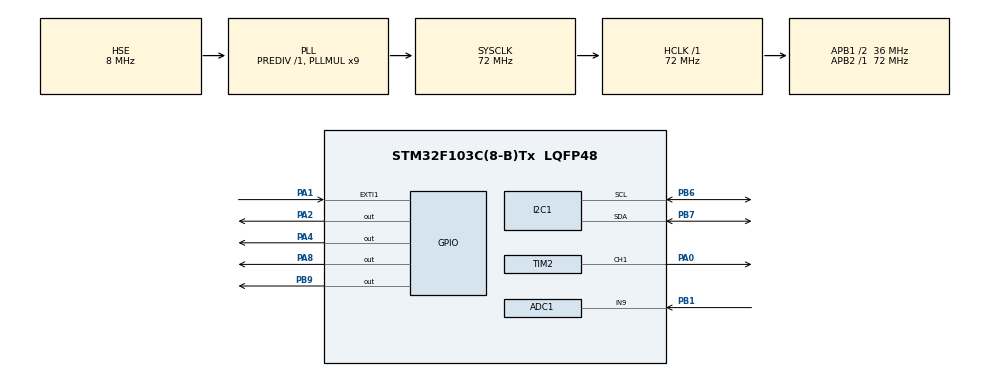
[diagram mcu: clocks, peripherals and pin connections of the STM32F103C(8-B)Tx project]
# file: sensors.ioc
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ADC1.Channel-5\#ChannelRegularConversion=ADC_CHANNEL_9
ADC1.ContinuousConvMode=ENABLE
ADC1.NbrOfConversionFlag=1
ADC1.Rank-5\#ChannelRegularConversion=1
ADC1.SamplingTime-5\#ChannelRegularConversion=ADC_SAMPLETIME_1CYCLE_5
ADC1.master=1
Mcu.Family=STM32F1
Mcu.Name=STM32F103C(8-B)Tx
Mcu.Package=LQFP48
NVIC.EXTI1_IRQn=true\:0\:0\:false\:false\:true\:true\:true\:true
NVIC.PriorityGroup=NVIC_PRIORITYGROUP_4
PA0-WKUP.Signal=S_TIM2_CH1_ETR
PA1.Signal=GPXTI1
PA13.Mode=Serial_Wire
PA13.Signal=SYS_JTMS-SWDIO
PA14.Mode=Serial_Wire
PA14.Signal=SYS_JTCK-SWCLK
PA2.Signal=GPIO_Output
PA4.Signal=GPIO_Output
PA8.Signal=GPIO_Output
PB1.Signal=ADCx_IN9
PB6.Mode=I2C
PB6.Signal=I2C1_SCL
PB7.Mode=I2C
PB7.Signal=I2C1_SDA
PB9.Signal=GPIO_Output
PD0-OSC_IN.Mode=HSE-External-Oscillator
PD0-OSC_IN.Signal=RCC_OSC_IN
PD1-OSC_OUT.Mode=HSE-External-Oscillator
PD1-OSC_OUT.Signal=RCC_OSC_OUT
ProjectManager.HeapSize=0x200
ProjectManager.StackSize=0x400
ProjectManager.TargetToolchain=STM32CubeIDE
RCC.ADCPresc=RCC_ADCPCLK2_DIV6
RCC.AHBFreq_Value=72000000
RCC.APB1CLKDivider=RCC_HCLK_DIV2
RCC.APB1Freq_Value=36000000
RCC.APB1TimFreq_Value=72000000
RCC.APB2Freq_Value=72000000
RCC.APB2TimFreq_Value=72000000
RCC.HCLKFreq_Value=72000000
RCC.PLLMUL=RCC_PLL_MUL9
RCC.PLLSourceVirtual=RCC_PLLSOURCE_HSE
RCC.SYSCLKFreq_VALUE=72000000
RCC.SYSCLKSource=RCC_SYSCLKSOURCE_PLLCLK
RCC.USBFreq_Value=72000000
SH.ADCx_IN9.0=ADC1_IN9,IN9
SH.S_TIM2_CH1_ETR.0=TIM2_CH1,PWM Generation1 CH1
TIM1.Prescaler=71
TIM2.Channel-PWM\ Generation1\ CH1=TIM_CHANNEL_1
TIM2.Period=999
TIM2.Prescaler=71
VP_TIM1_VS_ClockSourceINT.Mode=Internal
VP_TIM2_VS_ClockSourceINT.Mode=Internal
board=custom

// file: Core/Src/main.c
/* USER CODE BEGIN Header */
/**
  ******************************************************************************
  * @file           : main.c
  * @brief          : Main program body
  ******************************************************************************
  * @attention
  *
  * Copyright (c) 2023 STMicroelectronics.
  * All rights reserved.
  *
  * This software is licensed under terms that can be found in the LICENSE file
  * in the root directory of this software component.
  * If no LICENSE file comes with this software, it is provided AS-IS.
  *
  ******************************************************************************
  */
/* USER CODE END Header */
#include "main.h"

/* USER CODE BEGIN Includes */
#include "i2c-lcd.h"
/* USER CODE END Includes */

ADC_HandleTypeDef hadc1;

I2C_HandleTypeDef hi2c1;

TIM_HandleTypeDef htim1;
TIM_HandleTypeDef htim2;

/* USER CODE BEGIN PV */
uint32_t previousMillis = 0;
uint32_t currentMillis = 0;
/* USER CODE END PV */

void SystemClock_Config(void);
static void MX_GPIO_Init(void);
static void MX_TIM1_Init(void);
static void MX_ADC1_Init(void);
static void MX_TIM2_Init(void);
static void MX_I2C1_Init(void);

/* USER CODE BEGIN 0 */
#define DHT11_PORT GPIOB
#define DHT11_PIN GPIO_PIN_9

uint8_t RHI, RHD, TCI, TCD, SUM;
uint32_t pMillis, cMillis;
uint16_t readValue;

//Buffer to store float
char temp[10];
char humd[10];
char light[10];

float temperature = 0; //Temperature
float humidity = 0; //Humidity

float light_data = 0;
float led_light = 0;
float light_percent;

//This delay base on timer htim1
void microDelay (uint16_t delay)
{
  __HAL_TIM_SET_COUNTER(&htim1, 0);
  while (__HAL_TIM_GET_COUNTER(&htim1) < delay);
}

//Initialize the DHT11
uint8_t DHT11_Start (void)
{
  uint8_t Response = 0;
  GPIO_InitTypeDef GPIO_InitStructPrivate = {0};
  GPIO_InitStructPrivate.Pin = DHT11_PIN;
  GPIO_InitStructPrivate.Mode = GPIO_MODE_OUTPUT_PP;
  GPIO_InitStructPrivate.Speed = GPIO_SPEED_FREQ_LOW;
  GPIO_InitStructPrivate.Pull = GPIO_NOPULL;
  HAL_GPIO_Init(DHT11_PORT, &GPIO_InitStructPrivate); // set the pin as output
  HAL_GPIO_WritePin (DHT11_PORT, DHT11_PIN, 0);   // pull the pin low
  HAL_Delay(20);   // wait for 20ms
  HAL_GPIO_WritePin (DHT11_PORT, DHT11_PIN, 1);   // pull the pin high
  microDelay (30);   // wait for 30us
  GPIO_InitStructPrivate.Mode = GPIO_MODE_INPUT;
  GPIO_InitStructPrivate.Pull = GPIO_PULLUP;
  HAL_GPIO_Init(DHT11_PORT, &GPIO_InitStructPrivate); // set the pin as input
  microDelay (40);
  if (!(HAL_GPIO_ReadPin (DHT11_PORT, DHT11_PIN)))
  {
    microDelay (80);
    if ((HAL_GPIO_ReadPin (DHT11_PORT, DHT11_PIN))) Response = 1;
  }
  pMillis = HAL_GetTick();
  cMillis = HAL_GetTick();
  while ((HAL_GPIO_ReadPin (DHT11_PORT, DHT11_PIN)) && pMillis + 2 > cMillis)
  {
    cMillis = HAL_GetTick();
  }
  return Response;
}

uint8_t DHT11_Read (void)
{
  uint8_t a,b;
  for (a=0;a<8;a++)
  {
    pMillis = HAL_GetTick();
    cMillis = HAL_GetTick();
    while (!(HAL_GPIO_ReadPin (DHT11_PORT, DHT11_PIN)) && pMillis + 2 > cMillis)
    {  // wait for the pin to go high
      cMillis = HAL_GetTick();
    }
    microDelay (40);   // wait for 40 us
    if (!(HAL_GPIO_ReadPin (DHT11_PORT, DHT11_PIN)))   // if the pin is low
      b&= ~(1<<(7-a));
    else
      b|= (1<<(7-a));
    pMillis = HAL_GetTick();
    cMillis = HAL_GetTick();
    while ((HAL_GPIO_ReadPin (DHT11_PORT, DHT11_PIN)) && pMillis + 2 > cMillis)
    {  // wait for the pin to go low
      cMillis = HAL_GetTick();
    }
  }
  return b;
}
/* USER CODE END 0 */

int main(void)
{

  /* MCU Configuration--------------------------------------------------------*/

  /* Reset of all peripherals, Initializes the Flash interface and the Systick. */
  HAL_Init();

  /* Configure the system clock */
  SystemClock_Config();

  /* Initialize all configured peripherals */
  MX_GPIO_Init();
  MX_TIM1_Init();
  MX_ADC1_Init();
  MX_TIM2_Init();
  MX_I2C1_Init();
  /* USER CODE BEGIN 2 */
  HAL_ADC_Start(&hadc1);
  HAL_TIM_PWM_Start(&htim2,TIM_CHANNEL_1);
  HAL_TIM_Base_Start(&htim1);
  lcd_init(); //Initialize the LCD
  /* USER CODE END 2 */

  /* Infinite loop */
  /* USER CODE BEGIN WHILE */
  while (1)
  {
	  //Light sensor
	  HAL_ADC_PollForConversion(&hadc1,1000); //Wait the result in ADC conversion before continue
	  readValue = HAL_ADC_GetValue(&hadc1); //Read light value from environment
	  light_data = (float)readValue;
	  //Do some math to bring the data from sensor and change to PWM LED
	  led_light = (light_data - 1500)/2;
	  light_percent = 100 - (led_light/5);
	  if (light_percent < 0){
		  light_percent = 0;
	  }
	  if (light_percent > 100){
	  		  light_percent = 100;
	  	  }
	  //Yellow LED
	  //If value smaller than, set LED = 0
	  if (light_data < 1500){
		  __HAL_TIM_SetCompare(&htim2,TIM_CHANNEL_1,0);
	  //If value larger than, set LED to 500
	  }else if (light_data > 2500){
		  __HAL_TIM_SetCompare(&htim2,TIM_CHANNEL_1,500);
	  }else {
      //Set LED depended on the led_light value
		  __HAL_TIM_SetCompare(&htim2,TIM_CHANNEL_1,led_light);
	  }

	  //DHT11 Measure
	  if(DHT11_Start())
	     {
		  // Read data
	       RHI = DHT11_Read(); // Relative humidity integral
	       RHD = DHT11_Read(); // Relative humidity decimal
	       TCI = DHT11_Read(); // Celsius integral
	       TCD = DHT11_Read(); // Celsius decimal
	       SUM = DHT11_Read(); // Check sum
	       if (RHI + RHD + TCI + TCD == SUM)
	       {
	         // Can use RHI and TCI for any purposes if whole number only needed
	         temperature = (float)TCI + (float)(TCD/10.0);
	         humidity = (float)RHI + (float)(RHD/10.0);
	         // Can use tCelsius, tFahrenheit and RH for any purposes
	       }
	       if (TCI >=35){
	    	   HAL_GPIO_WritePin(GPIOA, GPIO_PIN_2, 1);
	    	   HAL_GPIO_WritePin(GPIOA, GPIO_PIN_4, 0);
	       } else {
	    	   HAL_GPIO_WritePin(GPIOA, GPIO_PIN_2, 0);
	    	   HAL_GPIO_WritePin(GPIOA, GPIO_PIN_4, 1);
	       }
	     }

	  	  //Concat float value to a string
	  	  sprintf(temp,"%.1f C", temperature);
	  	  sprintf(humd,"%.1f %%", humidity);
	  	  sprintf(light,"%.1f", light_percent);
	  	  HAL_Delay(1000);
	  	  //First line
	  	  lcd_send_cmd(0x80|0x00);
	  	  lcd_send_string("Temperature: ");
	  	  lcd_send_cmd(0x80|0x0D);
	  	  lcd_send_string(temp);
	  	  //Second line
	  	  lcd_send_cmd (0x80|0x40);
	  	  lcd_send_string("Humidity: ");
	  	  lcd_send_cmd (0x80|0x4A);
	  	  lcd_send_string(humd);
	  	  //Third line
	  	  lcd_send_cmd (0x80|0x14);
	  	  lcd_send_string("Light percent: ");
	  	  lcd_send_cmd (0x80|0x23);
	  	  lcd_send_string(light);
    /* USER CODE END WHILE */

  }
}

void SystemClock_Config(void)
{
  RCC_OscInitTypeDef RCC_OscInitStruct = {0};
  RCC_ClkInitTypeDef RCC_ClkInitStruct = {0};
  RCC_PeriphCLKInitTypeDef PeriphClkInit = {0};

  /** Initializes the RCC Oscillators according to the specified parameters
  * in the RCC_OscInitTypeDef structure.
  */
  RCC_OscInitStruct.OscillatorType = RCC_OSCILLATORTYPE_HSE;
  RCC_OscInitStruct.HSEState = RCC_HSE_ON;
  RCC_OscInitStruct.HSEPredivValue = RCC_HSE_PREDIV_DIV1;
  RCC_OscInitStruct.HSIState = RCC_HSI_ON;
  RCC_OscInitStruct.PLL.PLLState = RCC_PLL_ON;
  RCC_OscInitStruct.PLL.PLLSource = RCC_PLLSOURCE_HSE;
  RCC_OscInitStruct.PLL.PLLMUL = RCC_PLL_MUL9;
  if (HAL_RCC_OscConfig(&RCC_OscInitStruct) != HAL_OK)
  {
    Error_Handler();
  }

  /** Initializes the CPU, AHB and APB buses clocks
  */
  RCC_ClkInitStruct.ClockType = RCC_CLOCKTYPE_HCLK|RCC_CLOCKTYPE_SYSCLK
                              |RCC_CLOCKTYPE_PCLK1|RCC_CLOCKTYPE_PCLK2;
  RCC_ClkInitStruct.SYSCLKSource = RCC_SYSCLKSOURCE_PLLCLK;
  RCC_ClkInitStruct.AHBCLKDivider = RCC_SYSCLK_DIV1;
  RCC_ClkInitStruct.APB1CLKDivider = RCC_HCLK_DIV2;
  RCC_ClkInitStruct.APB2CLKDivider = RCC_HCLK_DIV1;

  if (HAL_RCC_ClockConfig(&RCC_ClkInitStruct, FLASH_LATENCY_2) != HAL_OK)
  {
    Error_Handler();
  }
  PeriphClkInit.PeriphClockSelection = RCC_PERIPHCLK_ADC;
  PeriphClkInit.AdcClockSelection = RCC_ADCPCLK2_DIV6;
  if (HAL_RCCEx_PeriphCLKConfig(&PeriphClkInit) != HAL_OK)
  {
    Error_Handler();
  }
}

static void MX_ADC1_Init(void)
{

  ADC_ChannelConfTypeDef sConfig = {0};

  /** Common config
  */
  hadc1.Instance = ADC1;
  hadc1.Init.ScanConvMode = ADC_SCAN_DISABLE;
  hadc1.Init.ContinuousConvMode = ENABLE;
  hadc1.Init.DiscontinuousConvMode = DISABLE;
  hadc1.Init.ExternalTrigConv = ADC_SOFTWARE_START;
  hadc1.Init.DataAlign = ADC_DATAALIGN_RIGHT;
  hadc1.Init.NbrOfConversion = 1;
  if (HAL_ADC_Init(&hadc1) != HAL_OK)
  {
    Error_Handler();
  }

  /** Configure Regular Channel
  */
  sConfig.Channel = ADC_CHANNEL_9;
  sConfig.Rank = ADC_REGULAR_RANK_1;
  sConfig.SamplingTime = ADC_SAMPLETIME_1CYCLE_5;
  if (HAL_ADC_ConfigChannel(&hadc1, &sConfig) != HAL_OK)
  {
    Error_Handler();
  }

}

static void MX_I2C1_Init(void)
{

  hi2c1.Instance = I2C1;
  hi2c1.Init.ClockSpeed = 100000;
  hi2c1.Init.DutyCycle = I2C_DUTYCYCLE_2;
  hi2c1.Init.OwnAddress1 = 0;
  hi2c1.Init.AddressingMode = I2C_ADDRESSINGMODE_7BIT;
  hi2c1.Init.DualAddressMode = I2C_DUALADDRESS_DISABLE;
  hi2c1.Init.OwnAddress2 = 0;
  hi2c1.Init.GeneralCallMode = I2C_GENERALCALL_DISABLE;
  hi2c1.Init.NoStretchMode = I2C_NOSTRETCH_DISABLE;
  if (HAL_I2C_Init(&hi2c1) != HAL_OK)
  {
    Error_Handler();
  }

}

static void MX_TIM1_Init(void)
{

  TIM_ClockConfigTypeDef sClockSourceConfig = {0};
  TIM_MasterConfigTypeDef sMasterConfig = {0};

  htim1.Instance = TIM1;
  htim1.Init.Prescaler = 71;
  htim1.Init.CounterMode = TIM_COUNTERMODE_UP;
  htim1.Init.Period = 65535;
  htim1.Init.ClockDivision = TIM_CLOCKDIVISION_DIV1;
  htim1.Init.RepetitionCounter = 0;
  htim1.Init.AutoReloadPreload = TIM_AUTORELOAD_PRELOAD_DISABLE;
  if (HAL_TIM_Base_Init(&htim1) != HAL_OK)
  {
    Error_Handler();
  }
  sClockSourceConfig.ClockSource = TIM_CLOCKSOURCE_INTERNAL;
  if (HAL_TIM_ConfigClockSource(&htim1, &sClockSourceConfig) != HAL_OK)
  {
    Error_Handler();
  }
  sMasterConfig.MasterOutputTrigger = TIM_TRGO_RESET;
  sMasterConfig.MasterSlaveMode = TIM_MASTERSLAVEMODE_DISABLE;
  if (HAL_TIMEx_MasterConfigSynchronization(&htim1, &sMasterConfig) != HAL_OK)
  {
    Error_Handler();
  }

}

static void MX_TIM2_Init(void)
{

  TIM_ClockConfigTypeDef sClockSourceConfig = {0};
  TIM_MasterConfigTypeDef sMasterConfig = {0};
  TIM_OC_InitTypeDef sConfigOC = {0};

  htim2.Instance = TIM2;
  htim2.Init.Prescaler = 71;
  htim2.Init.CounterMode = TIM_COUNTERMODE_UP;
  htim2.Init.Period = 999;
  htim2.Init.ClockDivision = TIM_CLOCKDIVISION_DIV1;
  htim2.Init.AutoReloadPreload = TIM_AUTORELOAD_PRELOAD_DISABLE;
  if (HAL_TIM_Base_Init(&htim2) != HAL_OK)
  {
    Error_Handler();
  }
  sClockSourceConfig.ClockSource = TIM_CLOCKSOURCE_INTERNAL;
  if (HAL_TIM_ConfigClockSource(&htim2, &sClockSourceConfig) != HAL_OK)
  {
    Error_Handler();
  }
  if (HAL_TIM_PWM_Init(&htim2) != HAL_OK)
  {
    Error_Handler();
  }
  sMasterConfig.MasterOutputTrigger = TIM_TRGO_RESET;
  sMasterConfig.MasterSlaveMode = TIM_MASTERSLAVEMODE_DISABLE;
  if (HAL_TIMEx_MasterConfigSynchronization(&htim2, &sMasterConfig) != HAL_OK)
  {
    Error_Handler();
  }
  sConfigOC.OCMode = TIM_OCMODE_PWM1;
  sConfigOC.Pulse = 0;
  sConfigOC.OCPolarity = TIM_OCPOLARITY_HIGH;
  sConfigOC.OCFastMode = TIM_OCFAST_DISABLE;
  if (HAL_TIM_PWM_ConfigChannel(&htim2, &sConfigOC, TIM_CHANNEL_1) != HAL_OK)
  {
    Error_Handler();
  }
  HAL_TIM_MspPostInit(&htim2);

}

static void MX_GPIO_Init(void)
{
  GPIO_InitTypeDef GPIO_InitStruct = {0};

  /* GPIO Ports Clock Enable */
  __HAL_RCC_GPIOD_CLK_ENABLE();
  __HAL_RCC_GPIOA_CLK_ENABLE();
  __HAL_RCC_GPIOB_CLK_ENABLE();

  /*Configure GPIO pin Output Level */
  HAL_GPIO_WritePin(GPIOA, GPIO_PIN_2|GPIO_PIN_4|GPIO_PIN_8, GPIO_PIN_RESET);

  /*Configure GPIO pin Output Level */
  HAL_GPIO_WritePin(GPIOB, GPIO_PIN_9, GPIO_PIN_RESET);

  /*Configure GPIO pin : PA1 */
  GPIO_InitStruct.Pin = GPIO_PIN_1;
  GPIO_InitStruct.Mode = GPIO_MODE_IT_RISING;
  GPIO_InitStruct.Pull = GPIO_NOPULL;
  HAL_GPIO_Init(GPIOA, &GPIO_InitStruct);

  /*Configure GPIO pins : PA2 PA4 PA8 */
  GPIO_InitStruct.Pin = GPIO_PIN_2|GPIO_PIN_4|GPIO_PIN_8;
  GPIO_InitStruct.Mode = GPIO_MODE_OUTPUT_PP;
  GPIO_InitStruct.Pull = GPIO_NOPULL;
  GPIO_InitStruct.Speed = GPIO_SPEED_FREQ_LOW;
  HAL_GPIO_Init(GPIOA, &GPIO_InitStruct);

  /*Configure GPIO pin : PB9 */
  GPIO_InitStruct.Pin = GPIO_PIN_9;
  GPIO_InitStruct.Mode = GPIO_MODE_OUTPUT_PP;
  GPIO_InitStruct.Pull = GPIO_NOPULL;
  GPIO_InitStruct.Speed = GPIO_SPEED_FREQ_LOW;
  HAL_GPIO_Init(GPIOB, &GPIO_InitStruct);

  /* EXTI interrupt init*/
  HAL_NVIC_SetPriority(EXTI1_IRQn, 0, 0);
  HAL_NVIC_EnableIRQ(EXTI1_IRQn);

}

/* USER CODE BEGIN 4 */
//Toggle button turn on/ off
void HAL_GPIO_EXTI_Callback(uint16_t GPIO_Pin)
{
  currentMillis = HAL_GetTick();
  if (GPIO_Pin == GPIO_PIN_1 && (currentMillis - previousMillis > 10))
  {
    HAL_GPIO_TogglePin(GPIOA, GPIO_PIN_8);
    previousMillis = currentMillis;
  }
}
/* USER CODE END 4 */

void Error_Handler(void)
{
  __disable_irq();
  while (1)
  {
  }
}
